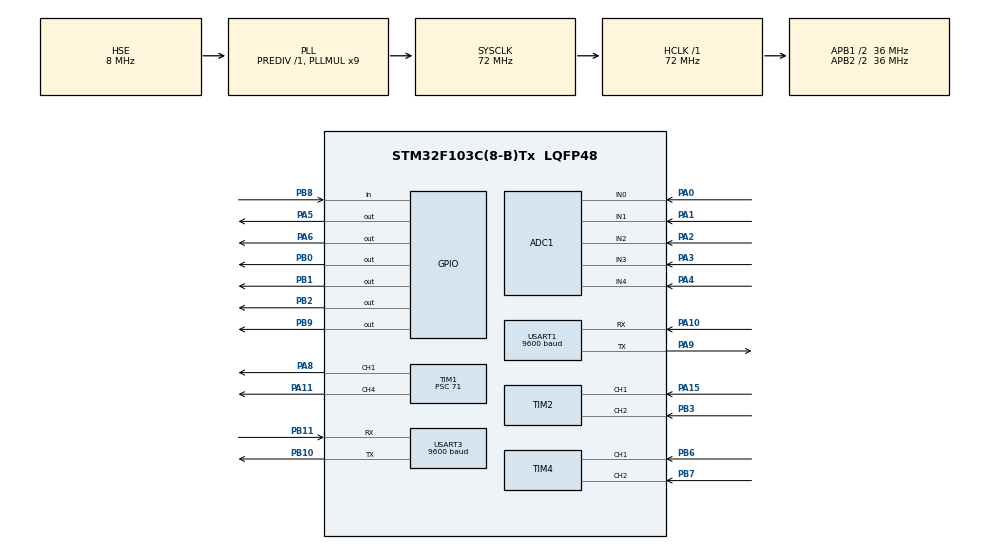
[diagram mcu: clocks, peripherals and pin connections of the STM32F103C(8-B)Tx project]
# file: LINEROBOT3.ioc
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ADC1.Channel-0\#ChannelRegularConversion=ADC_CHANNEL_0
ADC1.Channel-1\#ChannelRegularConversion=ADC_CHANNEL_1
ADC1.Channel-2\#ChannelRegularConversion=ADC_CHANNEL_2
ADC1.Channel-3\#ChannelRegularConversion=ADC_CHANNEL_3
ADC1.Channel-6\#ChannelRegularConversion=ADC_CHANNEL_4
ADC1.ContinuousConvMode=ENABLE
ADC1.DataAlign=ADC_DATAALIGN_RIGHT
ADC1.EnableAnalogWatchDog=false
ADC1.NbrOfConversion=5
ADC1.NbrOfConversionFlag=1
ADC1.Rank-0\#ChannelRegularConversion=1
ADC1.Rank-1\#ChannelRegularConversion=2
ADC1.Rank-2\#ChannelRegularConversion=3
ADC1.Rank-3\#ChannelRegularConversion=4
ADC1.Rank-6\#ChannelRegularConversion=5
ADC1.SamplingTime-0\#ChannelRegularConversion=ADC_SAMPLETIME_239CYCLES_5
ADC1.SamplingTime-1\#ChannelRegularConversion=ADC_SAMPLETIME_71CYCLES_5
ADC1.SamplingTime-2\#ChannelRegularConversion=ADC_SAMPLETIME_71CYCLES_5
ADC1.SamplingTime-3\#ChannelRegularConversion=ADC_SAMPLETIME_71CYCLES_5
ADC1.SamplingTime-6\#ChannelRegularConversion=ADC_SAMPLETIME_239CYCLES_5
ADC1.master=1
Dma.ADC1.0.Direction=DMA_PERIPH_TO_MEMORY
Dma.ADC1.0.Instance=DMA1_Channel1
Dma.ADC1.0.MemDataAlignment=DMA_MDATAALIGN_HALFWORD
Dma.ADC1.0.MemInc=DMA_MINC_ENABLE
Dma.ADC1.0.Mode=DMA_CIRCULAR
Dma.ADC1.0.PeriphDataAlignment=DMA_PDATAALIGN_HALFWORD
Dma.ADC1.0.PeriphInc=DMA_PINC_DISABLE
Dma.ADC1.0.Priority=DMA_PRIORITY_HIGH
Dma.Request0=ADC1
Mcu.Family=STM32F1
Mcu.Name=STM32F103C(8-B)Tx
Mcu.Package=LQFP48
NVIC.ADC1_2_IRQn=true\:0\:0\:false\:false\:true\:true\:true\:true
NVIC.DMA1_Channel1_IRQn=true\:0\:0\:false\:false\:true\:false\:true\:true
NVIC.PriorityGroup=NVIC_PRIORITYGROUP_4
NVIC.TIM3_IRQn=true\:0\:0\:false\:false\:true\:true\:true\:true
PA0-WKUP.Signal=ADCx_IN0
PA1.Signal=ADCx_IN1
PA10.Mode=Asynchronous
PA10.Signal=USART1_RX
PA11.Signal=S_TIM1_CH4
PA13.Mode=Serial_Wire
PA13.Signal=SYS_JTMS-SWDIO
PA14.Mode=Serial_Wire
PA14.Signal=SYS_JTCK-SWCLK
PA15.Signal=S_TIM2_CH1_ETR
PA2.Signal=ADCx_IN2
PA3.Signal=ADCx_IN3
PA4.Signal=ADCx_IN4
PA5.Signal=GPIO_Output
PA6.Signal=GPIO_Output
PA8.Signal=S_TIM1_CH1
PA9.Mode=Asynchronous
PA9.Signal=USART1_TX
PB0.Signal=GPIO_Output
PB1.Signal=GPIO_Output
PB10.Mode=Asynchronous
PB10.Signal=USART3_TX
PB11.Mode=Asynchronous
PB11.Signal=USART3_RX
PB2.Signal=GPIO_Output
PB3.Signal=S_TIM2_CH2
PB6.Signal=S_TIM4_CH1
PB7.Signal=S_TIM4_CH2
PB8.GPIO_PuPd=GPIO_PULLUP
PB8.Signal=GPIO_Input
PB9.Signal=GPIO_Output
PD0-OSC_IN.Mode=HSE-External-Oscillator
PD0-OSC_IN.Signal=RCC_OSC_IN
PD1-OSC_OUT.Mode=HSE-External-Oscillator
PD1-OSC_OUT.Signal=RCC_OSC_OUT
ProjectManager.HeapSize=0x200
ProjectManager.StackSize=0x400
ProjectManager.TargetToolchain=STM32CubeIDE
RCC.ADCPresc=RCC_ADCPCLK2_DIV6
RCC.AHBFreq_Value=72000000
RCC.APB1CLKDivider=RCC_HCLK_DIV2
RCC.APB1Freq_Value=36000000
RCC.APB1TimFreq_Value=72000000
RCC.APB2CLKDivider=RCC_HCLK_DIV2
RCC.APB2Freq_Value=36000000
RCC.APB2TimFreq_Value=72000000
RCC.HCLKFreq_Value=72000000
RCC.PLLMUL=RCC_PLL_MUL9
RCC.PLLSourceVirtual=RCC_PLLSOURCE_HSE
RCC.SYSCLKFreq_VALUE=72000000
RCC.SYSCLKSource=RCC_SYSCLKSOURCE_PLLCLK
RCC.USBFreq_Value=72000000
SH.ADCx_IN0.0=ADC1_IN0,IN0
SH.ADCx_IN1.0=ADC1_IN1,IN1
SH.ADCx_IN2.0=ADC1_IN2,IN2
SH.ADCx_IN3.0=ADC1_IN3,IN3
SH.ADCx_IN4.0=ADC1_IN4,IN4
SH.S_TIM1_CH1.0=TIM1_CH1,PWM Generation1 CH1
SH.S_TIM1_CH4.0=TIM1_CH4,PWM Generation4 CH4
SH.S_TIM2_CH1_ETR.0=TIM2_CH1,Encoder_Interface
SH.S_TIM2_CH2.0=TIM2_CH2,Encoder_Interface
SH.S_TIM4_CH1.0=TIM4_CH1,Encoder_Interface
SH.S_TIM4_CH2.0=TIM4_CH2,Encoder_Interface
TIM1.AutoReloadPreload=TIM_AUTORELOAD_PRELOAD_ENABLE
TIM1.Channel-PWM\ Generation1\ CH1=TIM_CHANNEL_1
TIM1.Channel-PWM\ Generation4\ CH4=TIM_CHANNEL_4
TIM1.OC4Preload_PWM=ENABLE
TIM1.Period=999
TIM1.Prescaler=71
TIM2.AutoReloadPreload=TIM_AUTORELOAD_PRELOAD_ENABLE
TIM2.EncoderMode=TIM_ENCODERMODE_TI12
TIM3.AutoReloadPreload=TIM_AUTORELOAD_PRELOAD_ENABLE
TIM3.Period=99
TIM3.Prescaler=7199
TIM4.AutoReloadPreload=TIM_AUTORELOAD_PRELOAD_ENABLE
TIM4.EncoderMode=TIM_ENCODERMODE_TI12
USART1.BaudRate=9600
USART1.VirtualMode=VM_ASYNC
USART3.BaudRate=9600
USART3.VirtualMode=VM_ASYNC
VP_TIM3_VS_ClockSourceINT.Mode=Internal
board=custom

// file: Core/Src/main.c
/* USER CODE BEGIN Header */
/**
  ******************************************************************************
  * @file           : main.c
  * @brief          : Main program body
  ******************************************************************************
  * @attention
  *
  * Copyright (c) 2025 STMicroelectronics.
  * All rights reserved.
  *
  * This software is licensed under terms that can be found in the LICENSE file
  * in the root directory of this software component.
  * If no LICENSE file comes with this software, it is provided AS-IS.
  *
  ******************************************************************************
  */
/* USER CODE END Header */
#include "main.h"

/* USER CODE BEGIN Includes */
#include "hienthi.h"
#include "loadcell.h"
#include "stdio.h"
/* USER CODE END Includes */

ADC_HandleTypeDef hadc1;
DMA_HandleTypeDef hdma_adc1;

TIM_HandleTypeDef htim1;
TIM_HandleTypeDef htim2;
TIM_HandleTypeDef htim3;
TIM_HandleTypeDef htim4;

UART_HandleTypeDef huart1;
UART_HandleTypeDef huart3;

/* USER CODE BEGIN PV */
LoadCell_HandleTypeDef loadcell;
/* USER CODE END PV */

void SystemClock_Config(void);
static void MX_GPIO_Init(void);
static void MX_DMA_Init(void);
static void MX_ADC1_Init(void);
static void MX_TIM2_Init(void);
static void MX_USART1_UART_Init(void);
static void MX_TIM1_Init(void);
static void MX_TIM4_Init(void);
static void MX_USART3_UART_Init(void);
static void MX_TIM3_Init(void);

/* USER CODE BEGIN 0 */
volatile int32_t encR = 0;
volatile int32_t encL = 0;
volatile uint16_t adc_dma_val[5];   // Mảng chứa giá trị ADC đọc được
volatile uint16_t cam0, cam1, cam2, cam3, cam4;   // Dễ theo dõi trên Watch
volatile int32_t last_encL = 0;
volatile float speedL = 0;
volatile int duty = 0;
volatile uint32_t last = 0;
volatile uint32_t encoder_cpl = 1320;       // 330 xung/vòng TRỤC RA (đã tính hộp số)
volatile float sample_time = 0.1;          // 100 ms
volatile uint16_t sensor_val[5];
volatile uint8_t line[5];   // 1 = trắng, 0 = đen
volatile uint16_t threshold = 2000; // tùy cảm biến, bạn test

uint16_t cam_raw[5];  // ADC đọc trực tiếp
uint16_t cam_min[5] = {229,227,233,246,294};
uint16_t cam_max[5] = {4095,4095,4095,4095,4095};
#define ENCODER_PPR   1320.0f   // Số xung/vòng TRỤC RA
#define WHEEL_DIAMETER 0.065f   // m (65 mm) - thay theo xe của bạn
#define WHEEL_CIRCUMFERENCE (3.14159f * WHEEL_DIAMETER)

volatile float speed_left_ms = 0.0f;
volatile float speed_right_ms = 0.0f;

static int32_t enc_left_prev = 0;
static int32_t enc_right_prev = 0;
static float rpm_left = 0.0f;
static float rpm_right = 0.0f;

volatile int32_t total_left_count = 0;
volatile int32_t total_right_count = 0;

uint16_t cam_norm[5]; // 0 → 1000
float Kp = 1.8;
float Ki = 0;
float Kd = 0.35;

typedef struct {
    float Kp;
    float Ki;
    float Kd;
    float integral;
    float prev_error;
} PID_t;
PID_t pid_left  = { .Kp = 790.0f, .Ki = 7480.0f, .Kd = 0.0f, .integral = 0, .prev_error = 0 };
PID_t pid_right = { .Kp = 905.5f, .Ki = 8511.0f, .Kd = 0.0f, .integral = 0, .prev_error = 0 };

float integral = 0;
float last_error = 0;
volatile float left_speed = 0.0f;
volatile float right_speed = 0.0f;

float dt1=0.02f;
float dt2=1.0f;

typedef enum {
    KHONGCOHANG = 0,
    HANG_1KG,
    HANG_2KG
} Phanloaihang;

volatile Phanloaihang hang_hien_tai = KHONGCOHANG;
volatile uint8_t dang_o_diem_nhan_hang = 0;
volatile uint8_t dang_o_diem_re = 0;
volatile uint8_t dang_re = 0;
volatile uint32_t thoi_gian_bat_dau_re = 0;

void chieu_thuan_dongco_trai(){
	HAL_GPIO_WritePin(GPIOB,GPIO_PIN_0,0);
	HAL_GPIO_WritePin(GPIOB,GPIO_PIN_1,1);
}
void chieu_thuan_dongco_phai(){
	HAL_GPIO_WritePin(GPIOA,GPIO_PIN_5,0);
	HAL_GPIO_WritePin(GPIOA,GPIO_PIN_6,1);
}

void chay_thang()
{
	__HAL_TIM_SET_COMPARE(&htim1, TIM_CHANNEL_1, 100);
	__HAL_TIM_SET_COMPARE(&htim1, TIM_CHANNEL_4, 100);
}

void Motor_ReadSpeed(void)
{
    int32_t enc_left_now  = __HAL_TIM_GET_COUNTER(&htim2);
    int32_t enc_right_now = __HAL_TIM_GET_COUNTER(&htim4);

    int32_t delta_left  = enc_left_now - enc_left_prev;
    int32_t delta_right = enc_right_now - enc_right_prev;

    // Xử lý tràn (overflow)
    if (delta_left >  32767) delta_left -= 65536;
    if (delta_left < -32768) delta_left += 65536;
    if (delta_right > 32767) delta_right -= 65536;
    if (delta_right < -32768) delta_right += 65536;

    total_left_count  += delta_left;
    total_right_count += delta_right;

    enc_left_prev  = enc_left_now;
    enc_right_prev = enc_right_now;

    // vòng / giây
    float rps_left  = (-delta_left  / ENCODER_PPR) / sample_time;
    float rps_right = (delta_right / ENCODER_PPR) / sample_time;

    rpm_left  = rps_left  * 60.0f;
    rpm_right = rps_right * 60.0f;

    // đổi sang m/s
    speed_left_ms  = rps_left  * WHEEL_CIRCUMFERENCE;
    speed_right_ms = rps_right * WHEEL_CIRCUMFERENCE;
}

void HAL_ADC_ConvCpltCallback(ADC_HandleTypeDef* hadc)
{
    if(hadc->Instance == ADC1)
    {
        cam0 = adc_dma_val[0];   // PA0 (ADC1_IN1)
        cam1 = adc_dma_val[1];   // PA1 (ADC1_IN2)
        cam2 = adc_dma_val[2];   // PA2 (ADC1_IN3)
        cam3 = adc_dma_val[3];   // PA3 (ADC1_IN4)
        cam4 = adc_dma_val[4];   // PA4 (ADC1_IN5)

    }
}

void read_line_sensor() {
    sensor_val[0] = cam0;
    sensor_val[1] = cam1;
    sensor_val[2] = cam2;
    sensor_val[3] = cam3;
    sensor_val[4] = cam4;

}
void normalize_sensor()
{
    // LẤY GIÁ TRỊ ADC THỰC VÀO cam_raw
    cam_raw[0] = cam0;
    cam_raw[1] = cam1;
    cam_raw[2] = cam2;
    cam_raw[3] = cam3;
    cam_raw[4] = cam4;

    for(int i = 0; i < 5; i++)
    {
        int32_t val = cam_raw[i];

        if(val < cam_min[i]) val = cam_min[i];
        if(val > cam_max[i]) val = cam_max[i];

        cam_norm[i] = (val - cam_min[i]) * 1000 / (cam_max[i] - cam_min[i]);
    }
}
int16_t get_line_position()
{
    int32_t sum_val = 0;
    int32_t sum_weight = 0;

    int16_t weight[5] = {-260,-130,0,130,260};

    for(int i=0;i<5;i++)
    {
        sum_val += cam_norm[i] * weight[i];
        sum_weight += cam_norm[i];
    }

    if(sum_weight == 0)
        return 0; // không thấy line → giữ hướng cũ

    return sum_val / sum_weight;
}

void print_line_sensor_data()
{
    char buffer[300];

    // In giá trị raw
    print_uart("Raw: ");
    for (int i = 0; i < 5; i++)
    {
        sprintf(buffer, "%4d ", cam_raw[i]);
        print_uart(buffer);
    }
    print_uart("\r\n");

    // In giá trị normalized
    print_uart("Norm: ");
    for (int i = 0; i < 5; i++)
    {
        sprintf(buffer, "%4d ", cam_norm[i]);
        print_uart(buffer);
    }
    print_uart("\r\n");

    // In độ lệch line
    int16_t pos = get_line_position();
    sprintf(buffer, "Position: %d\r\n", pos);
    print_uart(buffer);

    sprintf(buffer, "EncL: %ld  EncR: %ld\r\n",
            (long)total_left_count,
            (long)total_right_count);
    print_uart(buffer);

}

//ĐỌC BLUETOOTH

void line_pid_control(float dt2)
{
    normalize_sensor();

    float error = get_line_position();  // -300 → +300

    integral += error * dt2;   // <--- ĐÚNG
    float derivative = (error - last_error) / dt2;  // <--- ĐÚNG

    float correction = Kp*error + Ki*integral + Kd*derivative;

    last_error = error;

    // scale correction ra m/s
    float corr_ms = correction * 0.00032f;

    float base_ms = 0.2f;

    left_speed  = base_ms - corr_ms;
    right_speed = base_ms + corr_ms;

    if(left_speed  < 0) left_speed  = 0;
    if(right_speed < 0) right_speed = 0;

    if(left_speed > 0.35f)  left_speed = 0.35f;
    if(right_speed > 0.35f) right_speed = 0.35f;
}

float PID_Speed(PID_t *pid, float set, float measure, float dt1)
{
    float error = set - measure;

    pid->integral += error * dt1;
    float derivative = (error - pid->prev_error) / dt1;

    float output = pid->Kp*error + pid->Ki*pid->integral + pid->Kd*derivative;

    pid->prev_error = error;

    // Giới hạn PWM
    if(output < 0) output = 0;
    if(output > 999) output = 999;

    return output;
}

Phanloaihang kiem_tra_loai_hang(void)
{
    float khoi_luong = LoadCell_ReadGram(&loadcell, 5);

    if (khoi_luong >= 800.0f && khoi_luong <= 1200.0f) {
        return HANG_1KG;
    } else if (khoi_luong >= 1800.0f && khoi_luong <= 2200.0f) {
        return HANG_2KG;
    }

    return KHONGCOHANG;
}

void xu_ly_diem_nhan_hang(void)
{
    // Dừng động cơ
    __HAL_TIM_SET_COMPARE(&htim1, TIM_CHANNEL_1, 0);
    __HAL_TIM_SET_COMPARE(&htim1, TIM_CHANNEL_4, 0);

    // Chờ cho đến khi có hàng 1kg hoặc 2kg
    while (1) {
        hang_hien_tai = kiem_tra_loai_hang();
        if (hang_hien_tai == HANG_1KG || hang_hien_tai == HANG_2KG) {
            break;
        }
        HAL_Delay(100);
    }

    dang_o_diem_nhan_hang = 0;

    // Reset PID để bắt đầu bám line lại
    integral = 0;
    last_error = 0;

    left_speed=0.15;
    right_speed=0.15;
    float pwm_trai = PID_Speed(&pid_left, left_speed, speed_left_ms, dt1);
    float pwm_phai = PID_Speed(&pid_right, right_speed, speed_right_ms, dt1);
    __HAL_TIM_SET_COMPARE(&htim1, TIM_CHANNEL_1, pwm_trai);
    __HAL_TIM_SET_COMPARE(&htim1, TIM_CHANNEL_4, pwm_phai);

    // Xe sẽ tự động chạy tiếp nhờ PID trong vòng lặp chính
}

void re_trai(void)
{
    // Rẽ trái: bánh phải chạy nhanh hơn
//    __HAL_TIM_SET_COMPARE(&htim1, TIM_CHANNEL_1, 50);
//    __HAL_TIM_SET_COMPARE(&htim1, TIM_CHANNEL_4, 300);
    left_speed = 0.1;
    right_speed=0.15;
    // Cập nhật PWM ngay lập tức
    float pwm_trai = PID_Speed(&pid_left, left_speed, speed_left_ms, dt1);
    float pwm_phai = PID_Speed(&pid_right, right_speed, speed_right_ms, dt1);
    __HAL_TIM_SET_COMPARE(&htim1, TIM_CHANNEL_1, pwm_trai);
    __HAL_TIM_SET_COMPARE(&htim1, TIM_CHANNEL_4, pwm_phai);

}

void re_phai(void)
{
    // Rẽ phải: bánh trái chạy nhanh hơn
//    __HAL_TIM_SET_COMPARE(&htim1, TIM_CHANNEL_1, 300);
//    __HAL_TIM_SET_COMPARE(&htim1, TIM_CHANNEL_4, 50);
    left_speed = 0.25;
    right_speed=0.1;
    // Cập nhật PWM ngay lập tức
    float pwm_trai = PID_Speed(&pid_left, left_speed, speed_left_ms, dt1);
    float pwm_phai = PID_Speed(&pid_right, right_speed, speed_right_ms, dt1);
    __HAL_TIM_SET_COMPARE(&htim1, TIM_CHANNEL_1, pwm_trai);
    __HAL_TIM_SET_COMPARE(&htim1, TIM_CHANNEL_4, pwm_phai);
}
void xu_ly_diem_re(void)
{
    char buffer[100];

    if (hang_hien_tai == HANG_1KG) {
        sprintf(buffer, "RE TRAI - Hang 1kg\r\n");
        print_uart(buffer);
        re_trai();
    } else if (hang_hien_tai == HANG_2KG) {
        sprintf(buffer, "RE PHAI - Hang 2kg\r\n");
        print_uart(buffer);
        re_phai();
    } else {
        sprintf(buffer, "KHONG CO HANG - Khong re\r\n");
        print_uart(buffer);
        return;  // Không làm gì nếu không có hàng
    }

    dang_re = 1;
    thoi_gian_bat_dau_re = HAL_GetTick();
    dang_o_diem_re = 0;
}

void ket_thuc_re(void)
{
    dang_re = 0;
    // Reset PID để bám line lại từ đầu
    integral = 0;
    last_error = 0;
}

uint8_t check_stop_simple(void)
{
    int16_t vi_tri_line = get_line_position();

    // Điểm nhận hàng
    if ((total_right_count > 12450 && total_right_count < 13000) &&
        (vi_tri_line < 65 && vi_tri_line > -65)&&(hang_hien_tai == KHONGCOHANG)) {
        dang_o_diem_nhan_hang = 1;
        return 1;
    }

    // Điểm rẽ
    if ((total_right_count > 25000 && total_right_count < 26000)&&(hang_hien_tai != KHONGCOHANG)) {
        dang_o_diem_re = 1;
        return 1;
    }

    // Dừng khẩn cấp khi mất line
    if (cam_norm[0] < 50 && cam_norm[1] < 50 && cam_norm[2] < 50 &&
        cam_norm[3] < 50 && cam_norm[4] < 50) {
        return 1;
    }

    return 0;
}

/* USER CODE END 0 */

int main(void)
{

  /* MCU Configuration--------------------------------------------------------*/

  /* Reset of all peripherals, Initializes the Flash interface and the Systick. */
  HAL_Init();

  /* Configure the system clock */
  SystemClock_Config();

  /* Initialize all configured peripherals */
  MX_GPIO_Init();
  MX_DMA_Init();
  MX_ADC1_Init();
  MX_TIM2_Init();
  MX_USART1_UART_Init();
  MX_TIM1_Init();
  MX_TIM4_Init();
  MX_USART3_UART_Init();
  MX_TIM3_Init();
  /* USER CODE BEGIN 2 */
  HAL_TIM_PWM_Start(&htim1, TIM_CHANNEL_1);
  HAL_TIM_PWM_Start(&htim1, TIM_CHANNEL_4);

  HAL_TIM_Encoder_Start(&htim2, TIM_CHANNEL_ALL);
  HAL_TIM_Encoder_Start(&htim4, TIM_CHANNEL_ALL);
//  HAL_Delay(5000);  // Cho thời gian mở Serial Monitor
  // BẮT ĐẦU ĐỌC ADC BẰNG DMA
  HAL_ADC_Start_DMA(&hadc1, (uint32_t*)adc_dma_val, 5);
  // Khởi tạo cân
  LoadCell_Init(&loadcell,
                GPIOB, GPIO_PIN_8,   // DOUT
                GPIOB, GPIO_PIN_9,   // SCK
                415.713012f, -321367);

  	chieu_thuan_dongco_trai();
  	chieu_thuan_dongco_phai();
  	uint32_t last_pid = 0;
  	uint32_t last_line = 0;
  	uint32_t last_speed = 0;
  	uint32_t last_cell = 0;

  /* USER CODE END 2 */

  /* Infinite loop */
  while (1)
  {

    /* USER CODE BEGIN 3 */
	  uint32_t thoi_gian_hien_tai = HAL_GetTick();

	     // Cập nhật encoder và tốc độ
	     if(thoi_gian_hien_tai - last_speed >= 100) {
	         last_speed = thoi_gian_hien_tai;
	         Motor_ReadSpeed();
	     }

	     // Đọc cảm biến line
	     if(thoi_gian_hien_tai - last_line >= 100) {
	         last_line = thoi_gian_hien_tai;
	         normalize_sensor();
	          read_line_sensor();
	          print_line_sensor_data();
	     }

	     // Kiểm tra điểm dừng
	     if(check_stop_simple()) {
	         if (dang_o_diem_nhan_hang) {
	             xu_ly_diem_nhan_hang();
	             continue;
	         }
	         else if (dang_o_diem_re) {
	             xu_ly_diem_re();
	             continue;
	         }
	         else {
                 __HAL_TIM_SET_COMPARE(&htim1, TIM_CHANNEL_1, 0);
                 __HAL_TIM_SET_COMPARE(&htim1, TIM_CHANNEL_4, 0);
                 continue;
	         }
	     }

	     // Kết thúc lượt rẽ sau 0.5 giây
	     if (dang_re && (thoi_gian_hien_tai - thoi_gian_bat_dau_re >= 400)) {
	         ket_thuc_re();
	     }

	     // Điều khiển PID bám line (chỉ khi không đang rẽ)
	     if(!dang_o_diem_nhan_hang && !dang_re && thoi_gian_hien_tai - last_pid >= 100) {
	         last_pid = thoi_gian_hien_tai;

	         line_pid_control(dt2);

	         float pwm_trai = PID_Speed(&pid_left, left_speed, speed_left_ms, dt1);
	         float pwm_phai = PID_Speed(&pid_right, right_speed, speed_right_ms, dt1);

	         __HAL_TIM_SET_COMPARE(&htim1, TIM_CHANNEL_1, pwm_trai);
	         __HAL_TIM_SET_COMPARE(&htim1, TIM_CHANNEL_4, pwm_phai);
	     }

  }
  /* USER CODE END 3 */
}

void SystemClock_Config(void)
{
  RCC_OscInitTypeDef RCC_OscInitStruct = {0};
  RCC_ClkInitTypeDef RCC_ClkInitStruct = {0};
  RCC_PeriphCLKInitTypeDef PeriphClkInit = {0};

  /** Initializes the RCC Oscillators according to the specified parameters
  * in the RCC_OscInitTypeDef structure.
  */
  RCC_OscInitStruct.OscillatorType = RCC_OSCILLATORTYPE_HSE;
  RCC_OscInitStruct.HSEState = RCC_HSE_ON;
  RCC_OscInitStruct.HSEPredivValue = RCC_HSE_PREDIV_DIV1;
  RCC_OscInitStruct.HSIState = RCC_HSI_ON;
  RCC_OscInitStruct.PLL.PLLState = RCC_PLL_ON;
  RCC_OscInitStruct.PLL.PLLSource = RCC_PLLSOURCE_HSE;
  RCC_OscInitStruct.PLL.PLLMUL = RCC_PLL_MUL9;
  if (HAL_RCC_OscConfig(&RCC_OscInitStruct) != HAL_OK)
  {
    Error_Handler();
  }

  /** Initializes the CPU, AHB and APB buses clocks
  */
  RCC_ClkInitStruct.ClockType = RCC_CLOCKTYPE_HCLK|RCC_CLOCKTYPE_SYSCLK
                              |RCC_CLOCKTYPE_PCLK1|RCC_CLOCKTYPE_PCLK2;
  RCC_ClkInitStruct.SYSCLKSource = RCC_SYSCLKSOURCE_PLLCLK;
  RCC_ClkInitStruct.AHBCLKDivider = RCC_SYSCLK_DIV1;
  RCC_ClkInitStruct.APB1CLKDivider = RCC_HCLK_DIV2;
  RCC_ClkInitStruct.APB2CLKDivider = RCC_HCLK_DIV2;

  if (HAL_RCC_ClockConfig(&RCC_ClkInitStruct, FLASH_LATENCY_2) != HAL_OK)
  {
    Error_Handler();
  }
  PeriphClkInit.PeriphClockSelection = RCC_PERIPHCLK_ADC;
  PeriphClkInit.AdcClockSelection = RCC_ADCPCLK2_DIV6;
  if (HAL_RCCEx_PeriphCLKConfig(&PeriphClkInit) != HAL_OK)
  {
    Error_Handler();
  }
}

static void MX_ADC1_Init(void)
{

  ADC_ChannelConfTypeDef sConfig = {0};

  /** Common config
  */
  hadc1.Instance = ADC1;
  hadc1.Init.ScanConvMode = ADC_SCAN_ENABLE;
  hadc1.Init.ContinuousConvMode = ENABLE;
  hadc1.Init.DiscontinuousConvMode = DISABLE;
  hadc1.Init.ExternalTrigConv = ADC_SOFTWARE_START;
  hadc1.Init.DataAlign = ADC_DATAALIGN_RIGHT;
  hadc1.Init.NbrOfConversion = 5;
  if (HAL_ADC_Init(&hadc1) != HAL_OK)
  {
    Error_Handler();
  }

  /** Configure Regular Channel
  */
  sConfig.Channel = ADC_CHANNEL_0;
  sConfig.Rank = ADC_REGULAR_RANK_1;
  sConfig.SamplingTime = ADC_SAMPLETIME_239CYCLES_5;
  if (HAL_ADC_ConfigChannel(&hadc1, &sConfig) != HAL_OK)
  {
    Error_Handler();
  }

  /** Configure Regular Channel
  */
  sConfig.Channel = ADC_CHANNEL_1;
  sConfig.Rank = ADC_REGULAR_RANK_2;
  sConfig.SamplingTime = ADC_SAMPLETIME_71CYCLES_5;
  if (HAL_ADC_ConfigChannel(&hadc1, &sConfig) != HAL_OK)
  {
    Error_Handler();
  }

  /** Configure Regular Channel
  */
  sConfig.Channel = ADC_CHANNEL_2;
  sConfig.Rank = ADC_REGULAR_RANK_3;
  if (HAL_ADC_ConfigChannel(&hadc1, &sConfig) != HAL_OK)
  {
    Error_Handler();
  }

  /** Configure Regular Channel
  */
  sConfig.Channel = ADC_CHANNEL_3;
  sConfig.Rank = ADC_REGULAR_RANK_4;
  if (HAL_ADC_ConfigChannel(&hadc1, &sConfig) != HAL_OK)
  {
    Error_Handler();
  }

  /** Configure Regular Channel
  */
  sConfig.Channel = ADC_CHANNEL_4;
  sConfig.Rank = ADC_REGULAR_RANK_5;
  sConfig.SamplingTime = ADC_SAMPLETIME_239CYCLES_5;
  if (HAL_ADC_ConfigChannel(&hadc1, &sConfig) != HAL_OK)
  {
    Error_Handler();
  }

}

static void MX_TIM1_Init(void)
{

  TIM_MasterConfigTypeDef sMasterConfig = {0};
  TIM_OC_InitTypeDef sConfigOC = {0};
  TIM_BreakDeadTimeConfigTypeDef sBreakDeadTimeConfig = {0};

  htim1.Instance = TIM1;
  htim1.Init.Prescaler = 71;
  htim1.Init.CounterMode = TIM_COUNTERMODE_UP;
  htim1.Init.Period = 999;
  htim1.Init.ClockDivision = TIM_CLOCKDIVISION_DIV1;
  htim1.Init.RepetitionCounter = 0;
  htim1.Init.AutoReloadPreload = TIM_AUTORELOAD_PRELOAD_ENABLE;
  if (HAL_TIM_PWM_Init(&htim1) != HAL_OK)
  {
    Error_Handler();
  }
  sMasterConfig.MasterOutputTrigger = TIM_TRGO_RESET;
  sMasterConfig.MasterSlaveMode = TIM_MASTERSLAVEMODE_DISABLE;
  if (HAL_TIMEx_MasterConfigSynchronization(&htim1, &sMasterConfig) != HAL_OK)
  {
    Error_Handler();
  }
  sConfigOC.OCMode = TIM_OCMODE_PWM1;
  sConfigOC.Pulse = 0;
  sConfigOC.OCPolarity = TIM_OCPOLARITY_HIGH;
  sConfigOC.OCNPolarity = TIM_OCNPOLARITY_HIGH;
  sConfigOC.OCFastMode = TIM_OCFAST_DISABLE;
  sConfigOC.OCIdleState = TIM_OCIDLESTATE_RESET;
  sConfigOC.OCNIdleState = TIM_OCNIDLESTATE_RESET;
  if (HAL_TIM_PWM_ConfigChannel(&htim1, &sConfigOC, TIM_CHANNEL_1) != HAL_OK)
  {
    Error_Handler();
  }
  if (HAL_TIM_PWM_ConfigChannel(&htim1, &sConfigOC, TIM_CHANNEL_4) != HAL_OK)
  {
    Error_Handler();
  }
  sBreakDeadTimeConfig.OffStateRunMode = TIM_OSSR_DISABLE;
  sBreakDeadTimeConfig.OffStateIDLEMode = TIM_OSSI_DISABLE;
  sBreakDeadTimeConfig.LockLevel = TIM_LOCKLEVEL_OFF;
  sBreakDeadTimeConfig.DeadTime = 0;
  sBreakDeadTimeConfig.BreakState = TIM_BREAK_DISABLE;
  sBreakDeadTimeConfig.BreakPolarity = TIM_BREAKPOLARITY_HIGH;
  sBreakDeadTimeConfig.AutomaticOutput = TIM_AUTOMATICOUTPUT_DISABLE;
  if (HAL_TIMEx_ConfigBreakDeadTime(&htim1, &sBreakDeadTimeConfig) != HAL_OK)
  {
    Error_Handler();
  }
  HAL_TIM_MspPostInit(&htim1);

}

static void MX_TIM2_Init(void)
{

  TIM_Encoder_InitTypeDef sConfig = {0};
  TIM_MasterConfigTypeDef sMasterConfig = {0};

  htim2.Instance = TIM2;
  htim2.Init.Prescaler = 0;
  htim2.Init.CounterMode = TIM_COUNTERMODE_UP;
  htim2.Init.Period = 65535;
  htim2.Init.ClockDivision = TIM_CLOCKDIVISION_DIV1;
  htim2.Init.AutoReloadPreload = TIM_AUTORELOAD_PRELOAD_ENABLE;
  sConfig.EncoderMode = TIM_ENCODERMODE_TI12;
  sConfig.IC1Polarity = TIM_ICPOLARITY_RISING;
  sConfig.IC1Selection = TIM_ICSELECTION_DIRECTTI;
  sConfig.IC1Prescaler = TIM_ICPSC_DIV1;
  sConfig.IC1Filter = 0;
  sConfig.IC2Polarity = TIM_ICPOLARITY_RISING;
  sConfig.IC2Selection = TIM_ICSELECTION_DIRECTTI;
  sConfig.IC2Prescaler = TIM_ICPSC_DIV1;
  sConfig.IC2Filter = 0;
  if (HAL_TIM_Encoder_Init(&htim2, &sConfig) != HAL_OK)
  {
    Error_Handler();
  }
  sMasterConfig.MasterOutputTrigger = TIM_TRGO_RESET;
  sMasterConfig.MasterSlaveMode = TIM_MASTERSLAVEMODE_DISABLE;
  if (HAL_TIMEx_MasterConfigSynchronization(&htim2, &sMasterConfig) != HAL_OK)
  {
    Error_Handler();
  }

}

static void MX_TIM3_Init(void)
{

  TIM_ClockConfigTypeDef sClockSourceConfig = {0};
  TIM_MasterConfigTypeDef sMasterConfig = {0};

  htim3.Instance = TIM3;
  htim3.Init.Prescaler = 7199;
  htim3.Init.CounterMode = TIM_COUNTERMODE_UP;
  htim3.Init.Period = 99;
  htim3.Init.ClockDivision = TIM_CLOCKDIVISION_DIV1;
  htim3.Init.AutoReloadPreload = TIM_AUTORELOAD_PRELOAD_ENABLE;
  if (HAL_TIM_Base_Init(&htim3) != HAL_OK)
  {
    Error_Handler();
  }
  sClockSourceConfig.ClockSource = TIM_CLOCKSOURCE_INTERNAL;
  if (HAL_TIM_ConfigClockSource(&htim3, &sClockSourceConfig) != HAL_OK)
  {
    Error_Handler();
  }
  sMasterConfig.MasterOutputTrigger = TIM_TRGO_RESET;
  sMasterConfig.MasterSlaveMode = TIM_MASTERSLAVEMODE_DISABLE;
  if (HAL_TIMEx_MasterConfigSynchronization(&htim3, &sMasterConfig) != HAL_OK)
  {
    Error_Handler();
  }

}

static void MX_TIM4_Init(void)
{

  TIM_Encoder_InitTypeDef sConfig = {0};
  TIM_MasterConfigTypeDef sMasterConfig = {0};

  htim4.Instance = TIM4;
  htim4.Init.Prescaler = 0;
  htim4.Init.CounterMode = TIM_COUNTERMODE_UP;
  htim4.Init.Period = 65535;
  htim4.Init.ClockDivision = TIM_CLOCKDIVISION_DIV1;
  htim4.Init.AutoReloadPreload = TIM_AUTORELOAD_PRELOAD_ENABLE;
  sConfig.EncoderMode = TIM_ENCODERMODE_TI12;
  sConfig.IC1Polarity = TIM_ICPOLARITY_RISING;
  sConfig.IC1Selection = TIM_ICSELECTION_DIRECTTI;
  sConfig.IC1Prescaler = TIM_ICPSC_DIV1;
  sConfig.IC1Filter = 0;
  sConfig.IC2Polarity = TIM_ICPOLARITY_RISING;
  sConfig.IC2Selection = TIM_ICSELECTION_DIRECTTI;
  sConfig.IC2Prescaler = TIM_ICPSC_DIV1;
  sConfig.IC2Filter = 0;
  if (HAL_TIM_Encoder_Init(&htim4, &sConfig) != HAL_OK)
  {
    Error_Handler();
  }
  sMasterConfig.MasterOutputTrigger = TIM_TRGO_RESET;
  sMasterConfig.MasterSlaveMode = TIM_MASTERSLAVEMODE_DISABLE;
  if (HAL_TIMEx_MasterConfigSynchronization(&htim4, &sMasterConfig) != HAL_OK)
  {
    Error_Handler();
  }

}

static void MX_USART1_UART_Init(void)
{

  huart1.Instance = USART1;
  huart1.Init.BaudRate = 9600;
  huart1.Init.WordLength = UART_WORDLENGTH_8B;
  huart1.Init.StopBits = UART_STOPBITS_1;
  huart1.Init.Parity = UART_PARITY_NONE;
  huart1.Init.Mode = UART_MODE_TX_RX;
  huart1.Init.HwFlowCtl = UART_HWCONTROL_NONE;
  huart1.Init.OverSampling = UART_OVERSAMPLING_16;
  if (HAL_UART_Init(&huart1) != HAL_OK)
  {
    Error_Handler();
  }

}

static void MX_USART3_UART_Init(void)
{

  huart3.Instance = USART3;
  huart3.Init.BaudRate = 9600;
  huart3.Init.WordLength = UART_WORDLENGTH_8B;
  huart3.Init.StopBits = UART_STOPBITS_1;
  huart3.Init.Parity = UART_PARITY_NONE;
  huart3.Init.Mode = UART_MODE_TX_RX;
  huart3.Init.HwFlowCtl = UART_HWCONTROL_NONE;
  huart3.Init.OverSampling = UART_OVERSAMPLING_16;
  if (HAL_UART_Init(&huart3) != HAL_OK)
  {
    Error_Handler();
  }

}

static void MX_DMA_Init(void)
{

  /* DMA controller clock enable */
  __HAL_RCC_DMA1_CLK_ENABLE();

  /* DMA interrupt init */
  /* DMA1_Channel1_IRQn interrupt configuration */
  HAL_NVIC_SetPriority(DMA1_Channel1_IRQn, 0, 0);
  HAL_NVIC_EnableIRQ(DMA1_Channel1_IRQn);

}

static void MX_GPIO_Init(void)
{
  GPIO_InitTypeDef GPIO_InitStruct = {0};

  /* GPIO Ports Clock Enable */
  __HAL_RCC_GPIOD_CLK_ENABLE();
  __HAL_RCC_GPIOA_CLK_ENABLE();
  __HAL_RCC_GPIOB_CLK_ENABLE();

  /*Configure GPIO pin Output Level */
  HAL_GPIO_WritePin(GPIOA, GPIO_PIN_5|GPIO_PIN_6, GPIO_PIN_RESET);

  /*Configure GPIO pin Output Level */
  HAL_GPIO_WritePin(GPIOB, GPIO_PIN_0|GPIO_PIN_1|GPIO_PIN_2|GPIO_PIN_9, GPIO_PIN_RESET);

  /*Configure GPIO pins : PA5 PA6 */
  GPIO_InitStruct.Pin = GPIO_PIN_5|GPIO_PIN_6;
  GPIO_InitStruct.Mode = GPIO_MODE_OUTPUT_PP;
  GPIO_InitStruct.Pull = GPIO_NOPULL;
  GPIO_InitStruct.Speed = GPIO_SPEED_FREQ_LOW;
  HAL_GPIO_Init(GPIOA, &GPIO_InitStruct);

  /*Configure GPIO pins : PB0 PB1 PB2 PB9 */
  GPIO_InitStruct.Pin = GPIO_PIN_0|GPIO_PIN_1|GPIO_PIN_2|GPIO_PIN_9;
  GPIO_InitStruct.Mode = GPIO_MODE_OUTPUT_PP;
  GPIO_InitStruct.Pull = GPIO_NOPULL;
  GPIO_InitStruct.Speed = GPIO_SPEED_FREQ_LOW;
  HAL_GPIO_Init(GPIOB, &GPIO_InitStruct);

  /*Configure GPIO pin : PB8 */
  GPIO_InitStruct.Pin = GPIO_PIN_8;
  GPIO_InitStruct.Mode = GPIO_MODE_INPUT;
  GPIO_InitStruct.Pull = GPIO_PULLUP;
  HAL_GPIO_Init(GPIOB, &GPIO_InitStruct);

}

void Error_Handler(void)
{
  __disable_irq();
  while (1)
  {
  }
}
